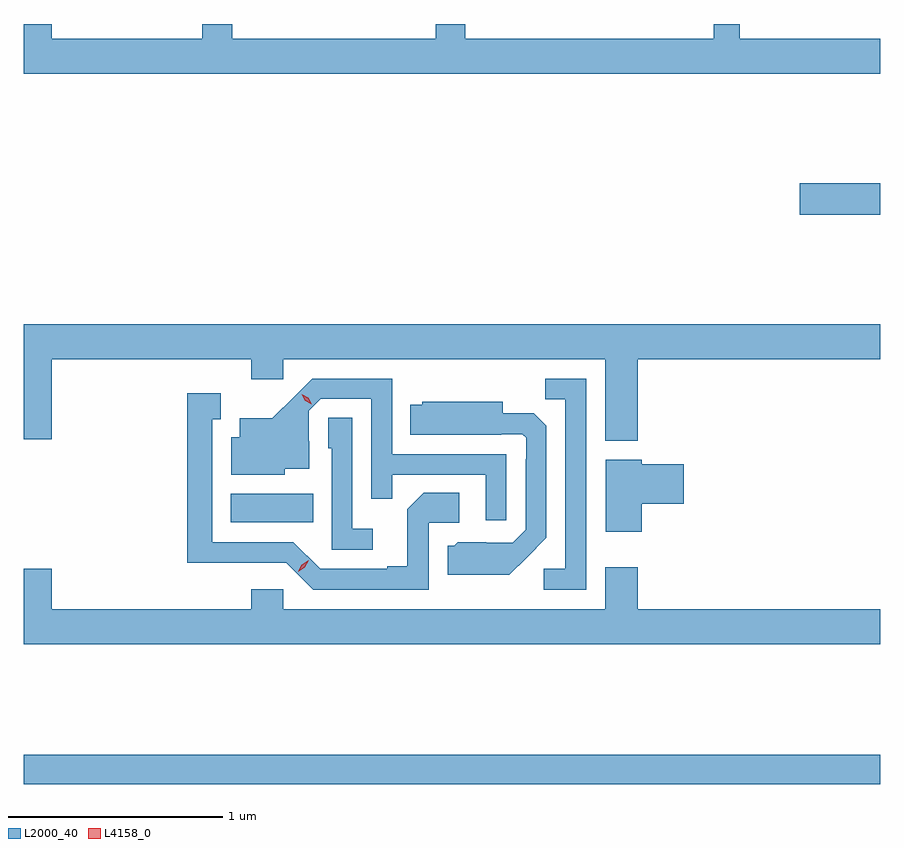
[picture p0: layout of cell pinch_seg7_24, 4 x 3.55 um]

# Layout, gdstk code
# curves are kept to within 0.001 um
import gdstk
lib = gdstk.Library(unit=1e-6, precision=1e-09)
def R(c, l, rs):  # rectangles x0, y0, x1, y1
    for r in rs: c.add(gdstk.rectangle(r[:2], r[2:], *l))
def P(c, l, *ps):  # polygons
    for p in ps: c.add(gdstk.Polygon(p, *l))
L2000_40 = (2000, 40)
L4158_0 = (4158, 0)

pinch_seg7_24 = lib.new_cell('pinch_seg7_24')
R(pinch_seg7_24, L2000_40, [(1040.165,1042.588,1044.165,1042.724), (1041.131,1043.81,1041.518,1043.944)])
P(pinch_seg7_24, L2000_40, [(1044.165,1046.068),(1043.509,1046.068),(1043.509,1046.137),(1043.388,1046.137),(1043.388,1046.068),(1042.228,1046.068),(1042.228,1046.137),(1042.089,1046.137),(1042.089,1046.068),(1041.139,1046.068),(1041.139,1046.137),(1040.999,1046.137),(1040.999,1046.068),(1040.296,1046.068),(1040.296,1046.137),(1040.165,1046.137),(1040.165,1045.904),(1044.165,1045.904)],
  [(1044.164,1045.256),(1044.165,1045.256),(1044.165,1045.394),(1043.79,1045.394),(1043.79,1045.247),(1044.164,1045.247)],
  [(1043.033,1044.572),(1044.165,1044.572),(1044.165,1044.736),(1040.165,1044.736),(1040.165,1044.198),(1040.296,1044.198),(1040.296,1044.572),(1041.227,1044.572),(1041.227,1044.477),(1041.378,1044.477),(1041.378,1044.572),(1042.88,1044.572),(1042.88,1044.192),(1043.033,1044.192)],
  [(1042.419,1044.129),(1041.885,1044.129),(1041.885,1044.48),(1041.512,1044.48),(1041.325,1044.295),(1041.173,1044.295),(1041.173,1044.208),(1041.134,1044.208),(1041.134,1044.032),(1041.384,1044.032),(1041.384,1044.059),(1041.499,1044.059),(1041.499,1044.188),(1041.495,1044.188),(1041.495,1044.33),(1041.552,1044.387),(1041.789,1044.387),(1041.789,1043.92),(1041.887,1043.92),(1041.887,1044.033),(1042.323,1044.033),(1042.323,1043.82),(1042.419,1043.82)],
  [(1042.791,1044.48),(1042.6,1044.48),(1042.6,1044.385),(1042.695,1044.385),(1042.695,1043.592),(1042.593,1043.592),(1042.593,1043.496),(1042.791,1043.496)],
  [(1042.056,1043.808),(1042.198,1043.808),(1042.198,1043.948),(1042.033,1043.948),(1041.957,1043.872),(1041.957,1043.605),(1041.863,1043.605),(1041.863,1043.592),(1041.549,1043.592),(1041.423,1043.718),(1041.046,1043.718),(1041.046,1044.291),(1041.085,1044.291),(1041.085,1044.412),(1040.928,1044.412),(1040.928,1043.621),(1041.39,1043.622),(1041.516,1043.496),(1042.056,1043.496)],
  [(1042.513,1043.645),(1042.605,1043.738),(1042.605,1044.26),(1042.546,1044.319),(1042.402,1044.319),(1042.402,1044.373),(1042.026,1044.373),(1042.026,1044.358),(1041.97,1044.358),(1041.97,1044.218),(1042.394,1044.218),(1042.394,1044.222),(1042.494,1044.222),(1042.512,1044.204),(1042.512,1044.104),(1042.509,1044.104),(1042.509,1043.775),(1042.449,1043.715),(1042.192,1043.716),(1042.176,1043.7),(1042.145,1043.7),(1042.145,1043.564),(1042.433,1043.564)],
  [(1041.796,1043.779),(1041.699,1043.779),(1041.699,1044.299),(1041.588,1044.299),(1041.588,1044.156),(1041.603,1044.156),(1041.603,1043.682),(1041.796,1043.682)],
  [(1043.05,1043.897),(1043.248,1043.897),(1043.248,1044.08),(1043.05,1044.08),(1043.05,1044.103),(1042.883,1044.103),(1042.883,1043.766),(1043.05,1043.766)],
  [(1044.165,1043.404),(1043.033,1043.404),(1043.033,1043.599),(1042.88,1043.599),(1042.88,1043.404),(1041.378,1043.404),(1041.378,1043.497),(1041.227,1043.497),(1041.227,1043.404),(1040.296,1043.404),(1040.296,1043.593),(1040.165,1043.593),(1040.165,1043.24),(1044.165,1043.24)])
P(pinch_seg7_24, L4158_0, [(1041.51,1044.362),(1041.48,1044.378),(1041.463,1044.407),(1041.463,1044.408),(1041.463,1044.408),(1041.494,1044.392),(1041.51,1044.362),(1041.51,1044.362)],
  [(1041.446,1043.58),(1041.446,1043.581),(1041.464,1043.613),(1041.495,1043.632),(1041.496,1043.632),(1041.496,1043.632),(1041.478,1043.599),(1041.446,1043.58)])

lib.write_gds('pinch_seg7_24.gds')
